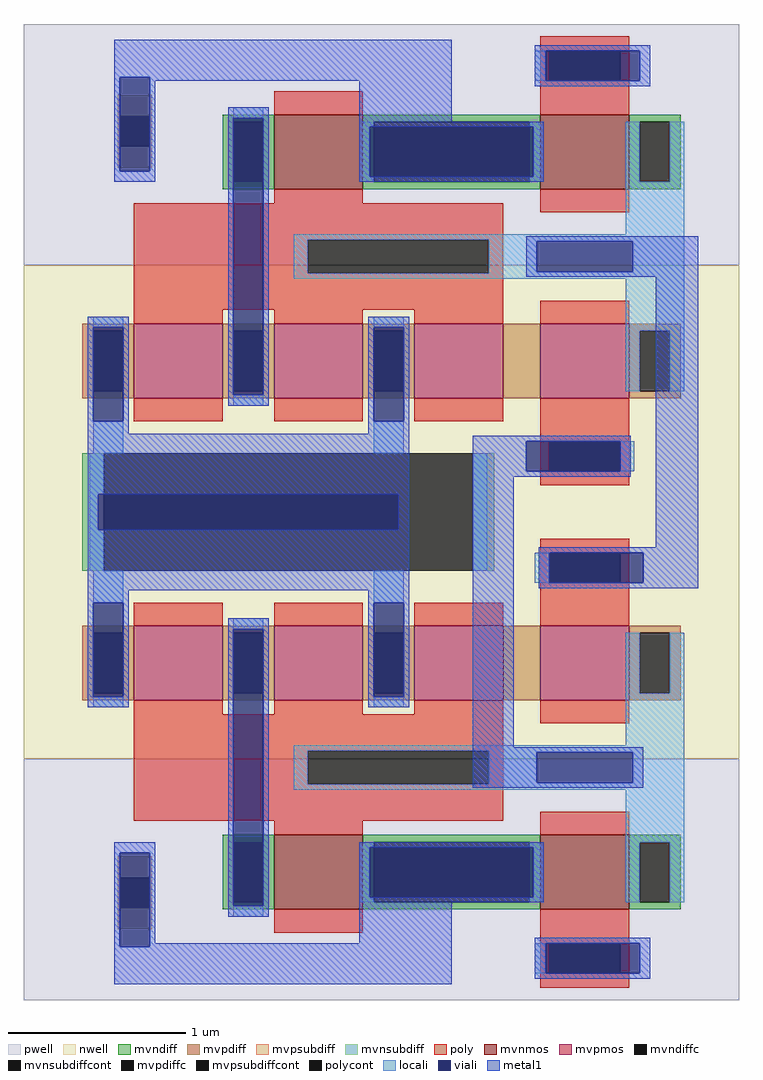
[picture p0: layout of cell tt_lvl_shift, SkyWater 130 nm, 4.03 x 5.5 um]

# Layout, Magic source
magic
tech sky130A
magscale 1 2
<< nwell >>
rect -2 -278 804 278
<< pwell >>
rect -2 278 804 550
rect -2 -550 804 -278
<< mvnmos >>
rect 280 364 380 448
rect 580 364 680 448
rect 280 -448 380 -364
rect 580 -448 680 -364
<< mvpmos >>
rect 122 128 222 212
rect 280 128 380 212
rect 438 128 538 212
rect 580 128 680 212
rect 122 -212 222 -128
rect 280 -212 380 -128
rect 438 -212 538 -128
rect 580 -212 680 -128
<< mvndiff >>
rect 222 440 280 448
rect 222 372 234 440
rect 268 372 280 440
rect 222 364 280 372
rect 380 440 580 448
rect 380 372 392 440
rect 568 372 580 440
rect 380 364 580 372
rect 680 440 738 448
rect 680 372 692 440
rect 726 372 738 440
rect 680 364 738 372
rect 222 -372 280 -364
rect 222 -440 234 -372
rect 268 -440 280 -372
rect 222 -448 280 -440
rect 380 -372 580 -364
rect 380 -440 392 -372
rect 568 -440 580 -372
rect 380 -448 580 -440
rect 680 -372 738 -364
rect 680 -440 692 -372
rect 726 -440 738 -372
rect 680 -448 738 -440
<< mvpdiff >>
rect 64 204 122 212
rect 64 136 76 204
rect 110 136 122 204
rect 64 128 122 136
rect 222 204 280 212
rect 222 136 234 204
rect 268 136 280 204
rect 222 128 280 136
rect 380 204 438 212
rect 380 136 392 204
rect 426 136 438 204
rect 380 128 438 136
rect 538 128 580 212
rect 680 204 738 212
rect 680 136 692 204
rect 726 136 738 204
rect 680 128 738 136
rect 64 -136 122 -128
rect 64 -204 76 -136
rect 110 -204 122 -136
rect 64 -212 122 -204
rect 222 -136 280 -128
rect 222 -204 234 -136
rect 268 -204 280 -136
rect 222 -212 280 -204
rect 380 -136 438 -128
rect 380 -204 392 -136
rect 426 -204 438 -136
rect 380 -212 438 -204
rect 538 -212 580 -128
rect 680 -136 738 -128
rect 680 -204 692 -136
rect 726 -204 738 -136
rect 680 -212 738 -204
<< mvndiffc >>
rect 234 372 268 440
rect 392 372 568 440
rect 692 372 726 440
rect 234 -440 268 -372
rect 392 -440 568 -372
rect 692 -440 726 -372
<< mvpdiffc >>
rect 76 136 110 204
rect 234 136 268 204
rect 392 136 426 204
rect 692 136 726 204
rect 76 -204 110 -136
rect 234 -204 268 -136
rect 392 -204 426 -136
rect 692 -204 726 -136
<< mvpsubdiff >>
rect 104 446 142 470
rect 104 412 106 446
rect 140 412 142 446
rect 104 388 142 412
rect 104 -412 142 -388
rect 104 -446 106 -412
rect 140 -446 142 -412
rect 104 -470 142 -446
<< mvnsubdiff >>
rect 64 -66 88 66
rect 504 -66 528 66
<< mvpsubdiffcont >>
rect 106 412 140 446
rect 106 -446 140 -412
<< mvnsubdiffcont >>
rect 88 -66 504 66
<< poly >>
rect 580 520 680 536
rect 580 486 590 520
rect 670 486 680 520
rect 280 448 380 474
rect 580 448 680 486
rect 280 348 380 364
rect 122 307 538 348
rect 580 338 680 364
rect 122 269 318 307
rect 522 269 538 307
rect 122 228 538 269
rect 122 212 222 228
rect 280 212 380 228
rect 438 212 538 228
rect 580 212 680 238
rect 122 102 222 128
rect 280 102 380 128
rect 438 102 538 128
rect 580 80 680 128
rect 580 46 590 80
rect 670 46 680 80
rect 580 30 680 46
rect 580 -46 680 -30
rect 580 -80 590 -46
rect 670 -80 680 -46
rect 122 -128 222 -102
rect 280 -128 380 -102
rect 438 -128 538 -102
rect 580 -128 680 -80
rect 122 -228 222 -212
rect 280 -228 380 -212
rect 438 -228 538 -212
rect 122 -269 538 -228
rect 580 -238 680 -212
rect 122 -307 318 -269
rect 522 -307 538 -269
rect 122 -348 538 -307
rect 280 -364 380 -348
rect 580 -364 680 -338
rect 280 -474 380 -448
rect 580 -486 680 -448
rect 580 -520 590 -486
rect 670 -520 680 -486
rect 580 -536 680 -520
<< polycont >>
rect 590 486 670 520
rect 318 269 522 307
rect 590 46 670 80
rect 590 -80 670 -46
rect 318 -307 522 -269
rect 590 -520 670 -486
<< locali >>
rect 574 486 586 520
rect 234 444 268 456
rect 376 434 392 440
rect 568 434 584 440
rect 376 378 388 434
rect 572 378 584 434
rect 376 372 392 378
rect 568 372 584 378
rect 676 372 692 440
rect 726 372 742 440
rect 76 208 110 220
rect 676 313 742 372
rect 302 307 742 313
rect 302 269 318 307
rect 522 305 742 307
rect 522 271 576 305
rect 684 271 742 305
rect 522 269 742 271
rect 302 263 742 269
rect 234 120 268 132
rect 392 208 426 220
rect 676 204 742 263
rect 676 136 692 204
rect 726 136 742 204
rect 76 66 110 102
rect 392 66 426 102
rect 72 20 88 66
rect 72 -20 82 20
rect 72 -66 88 -20
rect 504 -66 520 66
rect 670 46 686 80
rect 76 -102 110 -66
rect 392 -102 426 -66
rect 574 -80 590 -46
rect 76 -220 110 -208
rect 234 -132 268 -120
rect 392 -220 426 -208
rect 676 -204 692 -136
rect 726 -204 742 -136
rect 676 -263 742 -204
rect 302 -269 742 -263
rect 302 -307 318 -269
rect 522 -271 742 -269
rect 522 -305 576 -271
rect 684 -305 742 -271
rect 522 -307 742 -305
rect 302 -313 742 -307
rect 676 -372 742 -313
rect 376 -378 392 -372
rect 568 -378 584 -372
rect 376 -434 388 -378
rect 572 -434 584 -378
rect 376 -440 392 -434
rect 568 -440 584 -434
rect 676 -440 692 -372
rect 726 -440 742 -372
rect 234 -456 268 -444
rect 574 -520 586 -486
<< viali >>
rect 106 446 140 490
rect 586 486 590 520
rect 590 486 670 520
rect 670 486 692 520
rect 106 412 140 446
rect 106 384 140 412
rect 234 440 268 444
rect 234 372 268 440
rect 388 378 392 434
rect 392 378 568 434
rect 568 378 572 434
rect 76 204 110 208
rect 76 136 110 204
rect 76 102 110 136
rect 234 204 268 372
rect 576 271 684 305
rect 234 136 268 204
rect 234 132 268 136
rect 392 204 426 208
rect 392 136 426 204
rect 392 102 426 136
rect 82 -20 88 20
rect 88 -20 420 20
rect 564 46 590 80
rect 590 46 670 80
rect 76 -136 110 -102
rect 590 -80 670 -46
rect 670 -80 696 -46
rect 76 -204 110 -136
rect 76 -208 110 -204
rect 234 -136 268 -132
rect 234 -204 268 -136
rect 234 -372 268 -204
rect 392 -136 426 -102
rect 392 -204 426 -136
rect 392 -208 426 -204
rect 576 -305 684 -271
rect 106 -412 140 -384
rect 106 -446 140 -412
rect 106 -490 140 -446
rect 234 -440 268 -372
rect 388 -434 392 -378
rect 392 -434 568 -378
rect 568 -434 572 -378
rect 234 -444 268 -440
rect 586 -520 590 -486
rect 590 -520 670 -486
rect 670 -520 692 -486
<< metal1 >>
rect 100 490 480 532
rect 100 384 106 490
rect 140 486 480 490
rect 140 384 146 486
rect 100 372 146 384
rect 228 444 274 456
rect 70 208 116 220
rect 70 102 76 208
rect 110 102 116 208
rect 228 132 234 444
rect 268 132 274 444
rect 376 440 480 486
rect 574 520 704 526
rect 574 486 586 520
rect 692 486 704 520
rect 574 480 704 486
rect 376 434 584 440
rect 376 378 388 434
rect 572 378 584 434
rect 376 372 584 378
rect 564 305 758 311
rect 564 271 576 305
rect 684 271 758 305
rect 564 265 758 271
rect 228 120 274 132
rect 386 208 432 220
rect 70 88 116 102
rect 386 102 392 208
rect 426 102 432 208
rect 386 88 432 102
rect 70 20 432 88
rect 70 -20 82 20
rect 420 -20 432 20
rect 70 -88 432 -20
rect 70 -102 116 -88
rect 70 -208 76 -102
rect 110 -208 116 -102
rect 386 -102 432 -88
rect 70 -220 116 -208
rect 228 -132 274 -120
rect 100 -384 146 -372
rect 100 -490 106 -384
rect 140 -486 146 -384
rect 228 -444 234 -132
rect 268 -444 274 -132
rect 386 -208 392 -102
rect 426 -208 432 -102
rect 386 -220 432 -208
rect 504 80 682 86
rect 504 46 564 80
rect 670 46 682 80
rect 504 40 682 46
rect 504 -265 550 40
rect 710 -40 758 265
rect 578 -46 758 -40
rect 578 -80 590 -46
rect 696 -80 758 -46
rect 578 -86 758 -80
rect 504 -271 696 -265
rect 504 -305 576 -271
rect 684 -305 696 -271
rect 504 -311 696 -305
rect 228 -456 274 -444
rect 376 -378 584 -372
rect 376 -434 388 -378
rect 572 -434 584 -378
rect 376 -440 584 -434
rect 376 -486 480 -440
rect 140 -490 480 -486
rect 100 -532 480 -490
rect 574 -486 704 -480
rect 574 -520 586 -486
rect 692 -520 704 -486
rect 574 -526 704 -520
<< end >>
